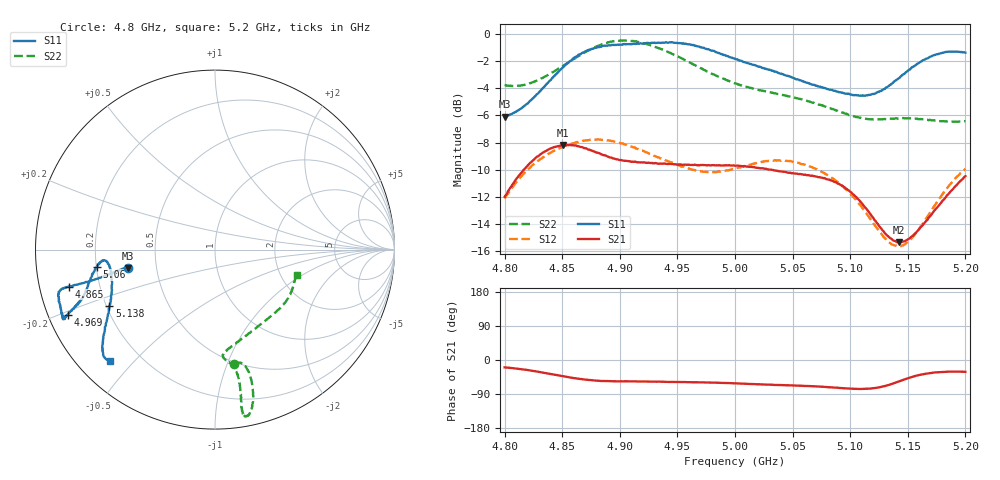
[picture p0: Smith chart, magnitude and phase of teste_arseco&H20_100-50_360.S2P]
! Network Analyzer HP8722D
! Hewlett-Packard
! Data name: Linha & Wilkinson
! Saver's name: Rodrigo Anjos
! Comments: Teste da utilização de aquisição
! continua pelo VNA HP8722D
! Time and date: 6/5/2025 15:34
!  Frequency  S11  S21  S12  S22
# HZ  S  MA R 50
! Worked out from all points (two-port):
!   401 points, 4.8 GHz to 5.2 GHz, reference 50 ohm
!   highest |S21| = -8.17 dB at 4.851 GHz (marker M1); lowest = -15.3 dB at 5.142 GHz (marker M2)
!   |S21| within 3 dB of the highest: 4.806 GHz to 5.093 GHz (286.9 MHz wide, 5.8 % of centre); 5.191864 GHz to end of sweep
!   lowest |S11| = -6.1 dB at 4.8 GHz (marker M3), VSWR 2.97, Z = 17 - j4.59 ohm
!   |S11| at or under -10 dB: nowhere
!   |S22| runs from -6.5 to -0.5 dB; largest |S21 - S12| = 0.62
!   S11 on the Smith chart (normalised r, x): 4.8 GHz: 0.34, -0.09; 4.865 GHz: 0.09, -0.12; 4.969 GHz: 0.06, -0.21; 5.06 GHz: 0.20, -0.07; 5.138 GHz: 0.21, -0.24; 5.2 GHz: 0.09, -0.43
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4.8e9  0.496 -168.2  0.2515 -19.6  0.2481 -140.7  0.648 -80.4
4.823e9  0.5703 -167.5  0.3374 -28.0  0.325 -143.6  0.6597 -76.0
4.851e9  0.7557 -165.7  0.3904 -43.0  0.3848 -149.0  0.7644 -74.5
4.865e9  0.8405 -165.8  0.3848 -49.8  0.4016 -151.5  0.8316 -75.2
4.867e9  0.8492 -165.8  0.3832 -50.6  0.4026 -151.9  0.8428 -75.3
4.899e9  0.9113 -162.7  0.3446 -56.4  0.3983 -156.6  0.9435 -79.0
4.914e9  0.9177 -159.6  0.3382 -56.5  0.379 -157.0  0.9386 -80.2
4.934e9  0.9275 -156.3  0.3328 -57.4  0.3515 -155.6  0.8843 -80.4
4.969e9  0.8974 -156.2  0.3282 -58.9  0.3125 -147.2  0.7533 -79.7
5e9  0.8109 -159.0  0.3272 -61.6  0.3196 -137.1  0.6576 -81.3
5.035e9  0.7257 -165.3  0.3144 -65.7  0.3433 -134.2  0.6042 -85.6
5.06e9  0.6665 -171.6  0.3031 -68.3  0.331 -136.0  0.5703 -84.2
5.067e9  0.6501 -172.9  0.3011 -69.1  0.3234 -136.6  0.5587 -82.6
5.087e9  0.6169 -174.3  0.2849 -73.0  0.2897 -138.4  0.5245 -74.9
5.103e9  0.5951 -171.4  0.2561 -76.0  0.2507 -138.6  0.4976 -65.2
5.117e9  0.5961 -164.8  0.2188 -75.5  0.2098 -135.0  0.4854 -55.3
5.134e9  0.6462 -154.3  0.1783 -65.4  0.1709 -120.8  0.4874 -43.3
5.138e9  0.6675 -151.8  0.1735 -61.2  0.167 -115.8  0.4871 -40.8
5.142e9  0.6852 -149.8  0.1713 -57.0  0.1662 -110.4  0.4888 -38.6
5.154e9  0.7547 -144.4  0.1806 -44.5  0.1787 -95.1  0.4876 -32.4
5.173e9  0.835 -138.8  0.2238 -33.2  0.2325 -80.7  0.4805 -24.2
5.2e9  0.8529 -133.4  0.2999 -31.2  0.319 -76.8  0.4772 -17.6
